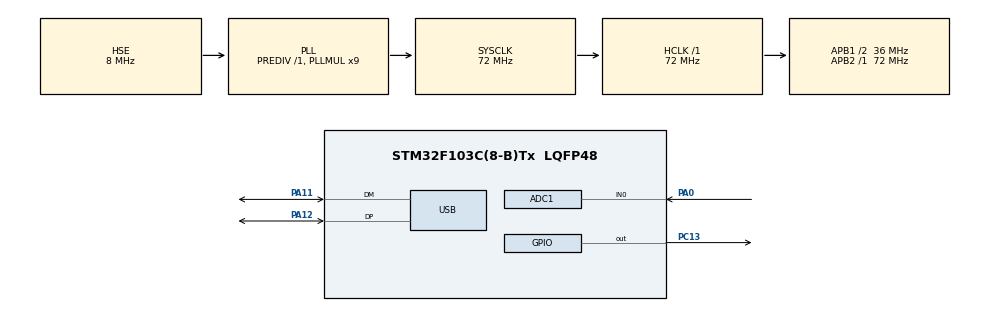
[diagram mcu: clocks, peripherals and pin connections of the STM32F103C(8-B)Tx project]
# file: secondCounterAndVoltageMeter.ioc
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ADC1.Channel-0\#ChannelRegularConversion=ADC_CHANNEL_0
ADC1.ContinuousConvMode=DISABLE
ADC1.ExternalTrigConv=ADC_EXTERNALTRIGCONV_T3_TRGO
ADC1.NbrOfConversion=1
ADC1.NbrOfConversionFlag=1
ADC1.Rank-0\#ChannelRegularConversion=1
ADC1.SamplingTime-0\#ChannelRegularConversion=ADC_SAMPLETIME_1CYCLE_5
ADC1.master=1
Dma.ADC1.0.Direction=DMA_PERIPH_TO_MEMORY
Dma.ADC1.0.Instance=DMA1_Channel1
Dma.ADC1.0.MemDataAlignment=DMA_MDATAALIGN_HALFWORD
Dma.ADC1.0.MemInc=DMA_MINC_ENABLE
Dma.ADC1.0.Mode=DMA_CIRCULAR
Dma.ADC1.0.PeriphDataAlignment=DMA_PDATAALIGN_HALFWORD
Dma.ADC1.0.PeriphInc=DMA_PINC_DISABLE
Dma.ADC1.0.Priority=DMA_PRIORITY_LOW
Dma.Request0=ADC1
Mcu.Family=STM32F1
Mcu.Name=STM32F103C(8-B)Tx
Mcu.Package=LQFP48
NVIC.DMA1_Channel1_IRQn=true\:0\:0\:false\:false\:true\:false\:true\:true
NVIC.PriorityGroup=NVIC_PRIORITYGROUP_4
NVIC.TIM2_IRQn=true\:0\:0\:false\:false\:true\:true\:true\:true
NVIC.USB_LP_CAN1_RX0_IRQn=true\:0\:0\:false\:false\:true\:false\:true\:true
PA0-WKUP.Signal=ADCx_IN0
PA11.Mode=Device
PA11.Signal=USB_DM
PA12.Mode=Device
PA12.Signal=USB_DP
PA13.Mode=Serial_Wire
PA13.Signal=SYS_JTMS-SWDIO
PA14.Mode=Serial_Wire
PA14.Signal=SYS_JTCK-SWCLK
PC13-TAMPER-RTC.Signal=GPIO_Output
PD0-OSC_IN.Mode=HSE-External-Oscillator
PD0-OSC_IN.Signal=RCC_OSC_IN
PD1-OSC_OUT.Mode=HSE-External-Oscillator
PD1-OSC_OUT.Signal=RCC_OSC_OUT
ProjectManager.HeapSize=0x200
ProjectManager.StackSize=0x400
ProjectManager.TargetToolchain=STM32CubeIDE
RCC.ADCPresc=RCC_ADCPCLK2_DIV6
RCC.AHBFreq_Value=72000000
RCC.APB1CLKDivider=RCC_HCLK_DIV2
RCC.APB1Freq_Value=36000000
RCC.APB1TimFreq_Value=72000000
RCC.APB2Freq_Value=72000000
RCC.APB2TimFreq_Value=72000000
RCC.HCLKFreq_Value=72000000
RCC.PLLMUL=RCC_PLL_MUL9
RCC.SYSCLKFreq_VALUE=72000000
RCC.SYSCLKSource=RCC_SYSCLKSOURCE_PLLCLK
RCC.USBFreq_Value=48000000
RCC.USBPrescaler=RCC_USBCLKSOURCE_PLL_DIV1_5
SH.ADCx_IN0.0=ADC1_IN0,IN0
TIM2.Period=10000-1
TIM2.Prescaler=7199
TIM3.Period=1000 -1
TIM3.Prescaler=7200 - 1
TIM3.TIM_MasterOutputTrigger=TIM_TRGO_UPDATE
USB_DEVICE.CLASS_NAME_FS=CDC
USB_DEVICE.VirtualMode=Cdc
USB_DEVICE.VirtualModeFS=Cdc_FS
VP_TIM2_VS_ClockSourceINT.Mode=Internal
VP_TIM3_VS_ClockSourceINT.Mode=Internal
VP_USB_DEVICE_VS_USB_DEVICE_CDC_FS.Mode=CDC_FS
board=custom

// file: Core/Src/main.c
/* USER CODE BEGIN Header */
/**
  ******************************************************************************
  * @file           : main.c
  * @brief          : Main program body
  ******************************************************************************
  * @attention
  *
  * Copyright (c) 2024 STMicroelectronics.
  * All rights reserved.
  *
  * This software is licensed under terms that can be found in the LICENSE file
  * in the root directory of this software component.
  * If no LICENSE file comes with this software, it is provided AS-IS.
  *
  ******************************************************************************
  */
/* USER CODE END Header */
#include "main.h"
#include "usb_device.h"

/* USER CODE BEGIN Includes */
#include "string.h"
#include <stdint.h>
#include "usbd_cdc_if.h"
/* USER CODE END Includes */

ADC_HandleTypeDef hadc1;
DMA_HandleTypeDef hdma_adc1;

TIM_HandleTypeDef htim2;
TIM_HandleTypeDef htim3;

/* USER CODE BEGIN PV */
volatile uint32_t seconds = 0;
char startCom[] = "Start";
char stopCom[] = "Stop";
char adcStartCom[] = "ADCSTART";
char adcStopCom[] = "ADCSTOP";
char command[32];
char message[32];
char adc_message[64];
uint8_t RxLen = 0;
uint16_t adc_buf[2];
/* USER CODE END PV */

void SystemClock_Config(void);
static void MX_GPIO_Init(void);
static void MX_DMA_Init(void);
static void MX_TIM2_Init(void);
static void MX_ADC1_Init(void);
static void MX_TIM3_Init(void);

int main(void)
{

  /* MCU Configuration--------------------------------------------------------*/

  /* Reset of all peripherals, Initializes the Flash interface and the Systick. */
  HAL_Init();

  /* Configure the system clock */
  SystemClock_Config();

  /* Initialize all configured peripherals */
  MX_GPIO_Init();
  MX_DMA_Init();
  MX_TIM2_Init();
  MX_USB_DEVICE_Init();
  MX_ADC1_Init();
  MX_TIM3_Init();
  /* USER CODE BEGIN 2 */
  HAL_TIM_Base_Start_IT(&htim2);
  HAL_TIM_Base_Stop_IT(&htim2);
  HAL_TIM_Base_Start(&htim3);
  //HAL_TIM_Base_Stop(&htim3);

  HAL_ADCEx_Calibration_Start(&hadc1);
  //HAL_ADC_Start_DMA(&hadc1, (uint32_t*)&adc_buf, 1);
  /* USER CODE END 2 */

  /* Infinite loop */
  /* USER CODE BEGIN WHILE */
  while (1)
  {
	  if(strncmp(command, startCom, sizeof(startCom)) == 0){
		  seconds = 0;
		  CDC_Transmit_FS((uint8_t*)"Started\n", sizeof("Started\n"));
		  HAL_TIM_Base_Start_IT(&htim2);
		  memset(command, 0, sizeof(command));
	  } else if(strncmp(command, stopCom, sizeof(stopCom)) == 0){
		  CDC_Transmit_FS((uint8_t*)"Stopped\n", sizeof("Stopped\n"));
		  HAL_TIM_Base_Stop_IT(&htim2);
		  memset(command, 0, sizeof(command));
	  }

	  if(strncmp(command, adcStartCom, sizeof(adcStartCom)) == 0){
		  CDC_Transmit_FS((uint8_t*)"Adc Started\n", sizeof("Adc Started\n"));
		  HAL_TIM_Base_Start(&htim3);
		  HAL_ADC_Start_DMA(&hadc1, (uint32_t*)&adc_buf, 1);
		  memset(command, 0, sizeof(command));
	  } else if(strncmp(command, adcStopCom, sizeof(adcStopCom)) == 0){
		  CDC_Transmit_FS((uint8_t*)"Adc Stopped\n", sizeof("Adc Stopped\n"));
		  HAL_ADC_Stop_DMA(&hadc1);
		  HAL_TIM_Base_Stop(&htim3);
		  memset(command, 0, sizeof(command));
	  }

	  //CDC_Transmit_FS((uint8_t*)command, sizeof(command));

    /* USER CODE END WHILE */

  }
}

void SystemClock_Config(void)
{
  RCC_OscInitTypeDef RCC_OscInitStruct = {0};
  RCC_ClkInitTypeDef RCC_ClkInitStruct = {0};
  RCC_PeriphCLKInitTypeDef PeriphClkInit = {0};

  /** Initializes the RCC Oscillators according to the specified parameters
  * in the RCC_OscInitTypeDef structure.
  */
  RCC_OscInitStruct.OscillatorType = RCC_OSCILLATORTYPE_HSE;
  RCC_OscInitStruct.HSEState = RCC_HSE_ON;
  RCC_OscInitStruct.HSEPredivValue = RCC_HSE_PREDIV_DIV1;
  RCC_OscInitStruct.HSIState = RCC_HSI_ON;
  RCC_OscInitStruct.PLL.PLLState = RCC_PLL_ON;
  RCC_OscInitStruct.PLL.PLLSource = RCC_PLLSOURCE_HSE;
  RCC_OscInitStruct.PLL.PLLMUL = RCC_PLL_MUL9;
  if (HAL_RCC_OscConfig(&RCC_OscInitStruct) != HAL_OK)
  {
    Error_Handler();
  }

  /** Initializes the CPU, AHB and APB buses clocks
  */
  RCC_ClkInitStruct.ClockType = RCC_CLOCKTYPE_HCLK|RCC_CLOCKTYPE_SYSCLK
                              |RCC_CLOCKTYPE_PCLK1|RCC_CLOCKTYPE_PCLK2;
  RCC_ClkInitStruct.SYSCLKSource = RCC_SYSCLKSOURCE_PLLCLK;
  RCC_ClkInitStruct.AHBCLKDivider = RCC_SYSCLK_DIV1;
  RCC_ClkInitStruct.APB1CLKDivider = RCC_HCLK_DIV2;
  RCC_ClkInitStruct.APB2CLKDivider = RCC_HCLK_DIV1;

  if (HAL_RCC_ClockConfig(&RCC_ClkInitStruct, FLASH_LATENCY_2) != HAL_OK)
  {
    Error_Handler();
  }
  PeriphClkInit.PeriphClockSelection = RCC_PERIPHCLK_ADC|RCC_PERIPHCLK_USB;
  PeriphClkInit.AdcClockSelection = RCC_ADCPCLK2_DIV6;
  PeriphClkInit.UsbClockSelection = RCC_USBCLKSOURCE_PLL_DIV1_5;
  if (HAL_RCCEx_PeriphCLKConfig(&PeriphClkInit) != HAL_OK)
  {
    Error_Handler();
  }
}

static void MX_ADC1_Init(void)
{

  ADC_ChannelConfTypeDef sConfig = {0};

  /** Common config
  */
  hadc1.Instance = ADC1;
  hadc1.Init.ScanConvMode = ADC_SCAN_DISABLE;
  hadc1.Init.ContinuousConvMode = DISABLE;
  hadc1.Init.DiscontinuousConvMode = DISABLE;
  hadc1.Init.ExternalTrigConv = ADC_EXTERNALTRIGCONV_T3_TRGO;
  hadc1.Init.DataAlign = ADC_DATAALIGN_RIGHT;
  hadc1.Init.NbrOfConversion = 1;
  if (HAL_ADC_Init(&hadc1) != HAL_OK)
  {
    Error_Handler();
  }

  /** Configure Regular Channel
  */
  sConfig.Channel = ADC_CHANNEL_0;
  sConfig.Rank = ADC_REGULAR_RANK_1;
  sConfig.SamplingTime = ADC_SAMPLETIME_1CYCLE_5;
  if (HAL_ADC_ConfigChannel(&hadc1, &sConfig) != HAL_OK)
  {
    Error_Handler();
  }

}

static void MX_TIM2_Init(void)
{

  TIM_ClockConfigTypeDef sClockSourceConfig = {0};
  TIM_MasterConfigTypeDef sMasterConfig = {0};

  htim2.Instance = TIM2;
  htim2.Init.Prescaler = 7199;
  htim2.Init.CounterMode = TIM_COUNTERMODE_UP;
  htim2.Init.Period = 10000-1;
  htim2.Init.ClockDivision = TIM_CLOCKDIVISION_DIV1;
  htim2.Init.AutoReloadPreload = TIM_AUTORELOAD_PRELOAD_DISABLE;
  if (HAL_TIM_Base_Init(&htim2) != HAL_OK)
  {
    Error_Handler();
  }
  sClockSourceConfig.ClockSource = TIM_CLOCKSOURCE_INTERNAL;
  if (HAL_TIM_ConfigClockSource(&htim2, &sClockSourceConfig) != HAL_OK)
  {
    Error_Handler();
  }
  sMasterConfig.MasterOutputTrigger = TIM_TRGO_RESET;
  sMasterConfig.MasterSlaveMode = TIM_MASTERSLAVEMODE_DISABLE;
  if (HAL_TIMEx_MasterConfigSynchronization(&htim2, &sMasterConfig) != HAL_OK)
  {
    Error_Handler();
  }

}

static void MX_TIM3_Init(void)
{

  TIM_ClockConfigTypeDef sClockSourceConfig = {0};
  TIM_MasterConfigTypeDef sMasterConfig = {0};

  htim3.Instance = TIM3;
  htim3.Init.Prescaler = 7200 - 1;
  htim3.Init.CounterMode = TIM_COUNTERMODE_UP;
  htim3.Init.Period = 1000 -1;
  htim3.Init.ClockDivision = TIM_CLOCKDIVISION_DIV1;
  htim3.Init.AutoReloadPreload = TIM_AUTORELOAD_PRELOAD_DISABLE;
  if (HAL_TIM_Base_Init(&htim3) != HAL_OK)
  {
    Error_Handler();
  }
  sClockSourceConfig.ClockSource = TIM_CLOCKSOURCE_INTERNAL;
  if (HAL_TIM_ConfigClockSource(&htim3, &sClockSourceConfig) != HAL_OK)
  {
    Error_Handler();
  }
  sMasterConfig.MasterOutputTrigger = TIM_TRGO_UPDATE;
  sMasterConfig.MasterSlaveMode = TIM_MASTERSLAVEMODE_DISABLE;
  if (HAL_TIMEx_MasterConfigSynchronization(&htim3, &sMasterConfig) != HAL_OK)
  {
    Error_Handler();
  }

}

static void MX_DMA_Init(void)
{

  /* DMA controller clock enable */
  __HAL_RCC_DMA1_CLK_ENABLE();

  /* DMA interrupt init */
  /* DMA1_Channel1_IRQn interrupt configuration */
  HAL_NVIC_SetPriority(DMA1_Channel1_IRQn, 0, 0);
  HAL_NVIC_EnableIRQ(DMA1_Channel1_IRQn);

}

static void MX_GPIO_Init(void)
{
  GPIO_InitTypeDef GPIO_InitStruct = {0};

  /* GPIO Ports Clock Enable */
  __HAL_RCC_GPIOC_CLK_ENABLE();
  __HAL_RCC_GPIOD_CLK_ENABLE();
  __HAL_RCC_GPIOA_CLK_ENABLE();

  /*Configure GPIO pin Output Level */
  HAL_GPIO_WritePin(GPIOC, GPIO_PIN_13, GPIO_PIN_RESET);

  /*Configure GPIO pin : PC13 */
  GPIO_InitStruct.Pin = GPIO_PIN_13;
  GPIO_InitStruct.Mode = GPIO_MODE_OUTPUT_PP;
  GPIO_InitStruct.Pull = GPIO_NOPULL;
  GPIO_InitStruct.Speed = GPIO_SPEED_FREQ_LOW;
  HAL_GPIO_Init(GPIOC, &GPIO_InitStruct);

}

/* USER CODE BEGIN 4 */
void HAL_TIM_PeriodElapsedCallback(TIM_HandleTypeDef *htim) {

    if (htim->Instance == TIM2)
    {
        seconds++;
        uint8_t result = USBD_OK;
        memcpy(message, command, strlen(command));
        int n = sprintf(message, "Seconds elapsed: %lu\n", seconds);
        //do{
        	result = CDC_Transmit_FS((uint8_t*)message, n);
        //} while(result != USBD_OK);
    }

    /*if (htim->Instance == TIM3)
    {
    	  if (HAL_ADC_PollForConversion(&hadc1, HAL_MAX_DELAY) == HAL_OK)
    	  {
    		  adc_value = HAL_ADC_GetValue(&hadc1);
    		  snprintf("Value: %.2f \n", adc_value);
    		  CDC_Transmit_FS((uint8_t*)adc_value, sizeof(adc_value));
    	  }
    }*/

}

void HAL_ADC_ConvCpltCallback(ADC_HandleTypeDef *hadc)
{
	uint8_t result;
	int n = sprintf(adc_message, "Value: %d\n", adc_buf[0]);
	do{
		result = CDC_Transmit_FS((uint8_t*)adc_message, n);
	} while(result != USBD_OK);

}

/* USER CODE END 4 */

void Error_Handler(void)
{
  __disable_irq();
  while (1)
  {
  }
}
